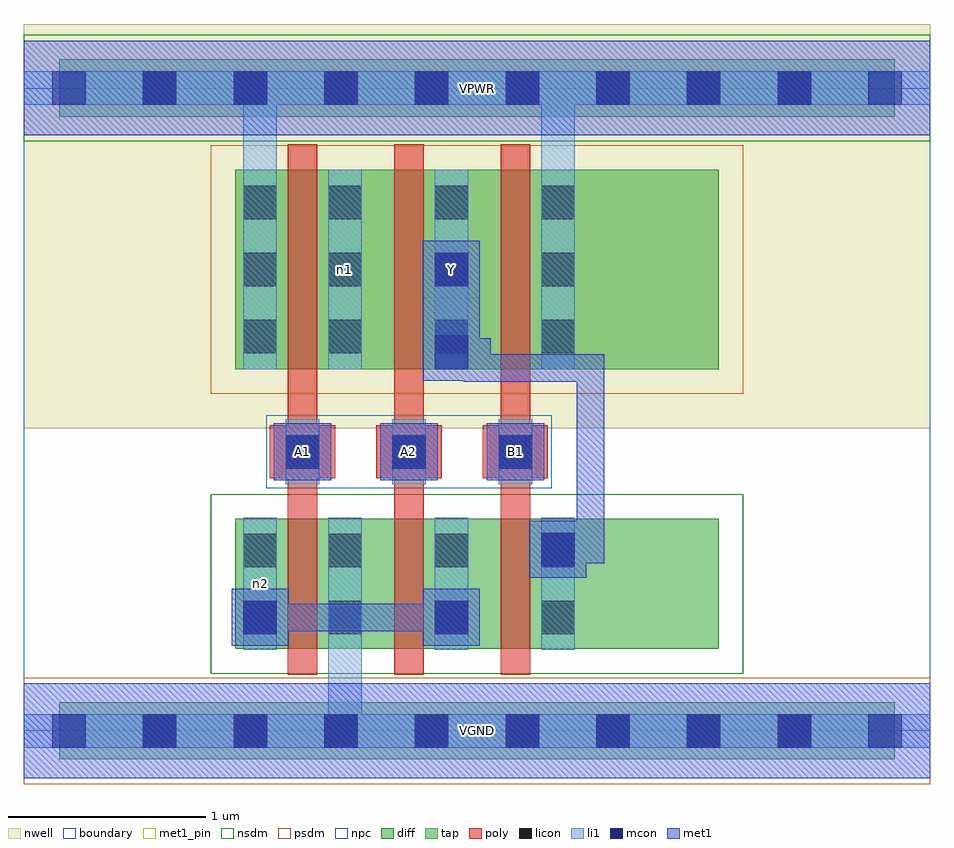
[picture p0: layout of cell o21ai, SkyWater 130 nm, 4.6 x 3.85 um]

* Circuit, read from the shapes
.subckt o21ai A1 A2 B1 VGND VPWR Y n1 n2
XM1 VGND A1 n2 VGND sky130_fd_pr__nfet_01v8 w=0.66 l=0.15
XM2 n2 A2 VGND VGND sky130_fd_pr__nfet_01v8 w=0.66 l=0.15
XM3 Y B1 n2 VGND sky130_fd_pr__nfet_01v8 w=0.66 l=0.15
XM4 n1 A1 VPWR VPWR sky130_fd_pr__pfet_01v8 w=1.01 l=0.15
XM5 Y A2 n1 VPWR sky130_fd_pr__pfet_01v8 w=1.01 l=0.15
XM6 VPWR B1 Y VPWR sky130_fd_pr__pfet_01v8 w=1.01 l=0.15
.ends

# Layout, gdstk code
import gdstk
lib = gdstk.Library(unit=1e-6, precision=1e-09)
def R(c, l, rs):  # rectangles x0, y0, x1, y1
    for r in rs: c.add(gdstk.rectangle(r[:2], r[2:], *l))
def A(c, l, x, y, w, h, nx, ny, dx, dy):  # array of equal rectangles
    R(c, l, [(x+i*dx, y+j*dy, x+i*dx+w, y+j*dy+h) for i in range(nx) for j in range(ny)])
nwell = (64, 20)
diff = (65, 20)
tap = (65, 44)
poly = (66, 20)
licon = (66, 44)
li1 = (67, 20)
mcon = (67, 44)
met1_pin = (68, 16)
met1 = (68, 20)
nsdm = (93, 44)
psdm = (94, 20)
npc = (95, 20)
boundary = (235, 4)

o21ai = lib.new_cell('o21ai')
R(o21ai, nwell, [(0,1.535,4.6,3.585)])
R(o21ai, diff, [(1.075,0.415,3.525,1.075), (1.075,1.835,3.525,2.845)])
R(o21ai, tap, [(0.18,-0.145,4.42,0.145), (0.18,3.115,4.42,3.405)])
A(o21ai, poly, 1.34, 0.285, 0.15, 2.69, 3, 1, 0.54, 0)
A(o21ai, poly, 1.25, 1.28, 0.33, 0.27, 3, 1, 0.54, 0)
A(o21ai, licon, 0.605, -0.085, 0.17, 0.17, 8, 2, 0.46, 3.26)
A(o21ai, licon, 1.545, 0.49, 0.17, 0.17, 3, 2, 0.54, 0.34)
A(o21ai, licon, 1.33, 1.33, 0.17, 0.17, 3, 1, 0.54, 0)
A(o21ai, licon, 1.115, 1.915, 0.17, 0.17, 1, 3, 0, 0.34)
A(o21ai, licon, 1.545, 1.915, 0.17, 0.17, 3, 3, 0.54, 0.34)
R(o21ai, licon, [(1.115,0.49,1.285,0.66), (1.115,0.83,1.285,1)])
A(o21ai, li1, 1.545, 0.41, 0.17, 0.67, 3, 1, 0.54, 0)
A(o21ai, li1, 1.33, 1.25, 0.17, 0.33, 3, 1, 0.54, 0)
A(o21ai, li1, 1.545, 1.835, 0.17, 1.01, 3, 1, 0.54, 0)
R(o21ai, li1, [(0,-0.085,4.6,0.085), (1.545,-0.085,1.715,1.08), (1.115,0.41,1.285,1.08), (1.115,1.835,1.285,2.845), (1.115,1.835,1.285,3.345), (2.625,1.835,2.795,3.345), (0,3.175,4.6,3.345)])
A(o21ai, mcon, 0.145, -0.085, 0.17, 0.17, 10, 2, 0.46, 3.26)
A(o21ai, mcon, 1.33, 1.33, 0.17, 0.17, 3, 1, 0.54, 0)
R(o21ai, mcon, [(1.115,0.49,1.285,0.66), (2.085,0.49,2.255,0.66), (2.625,0.835,2.795,1.005), (2.085,1.835,2.255,2.005), (2.085,2.255,2.255,2.425)])
A(o21ai, met1_pin, 1.27, 1.27, 0.29, 0.29, 3, 1, 0.54, 0)
R(o21ai, met1_pin, [(0,-0.24,4.6,0.24), (2.025,2.195,2.315,2.485), (0,3.02,4.6,3.5)])
A(o21ai, met1, 1.27, 1.27, 0.29, 0.29, 3, 1, 0.54, 0)
R(o21ai, met1, [(0,-0.24,4.6,0.24), (1.055,0.43,1.345,0.72), (2.025,0.43,2.315,0.72), (1.13,0.505,1.45,0.645), (1.31,0.505,2.14,0.645), (2,0.505,2.24,0.645), (2.565,0.775,2.855,1.065), (2.64,0.85,2.945,0.99), (2.805,0.85,2.945,1.91), (2.23,1.77,2.37,1.99), (2.23,1.77,2.945,1.91), (2.025,1.775,2.315,2.065), (2.1,1.85,2.37,1.99), (2.025,2.065,2.315,2.195), (2.025,2.195,2.315,2.485), (0,3.02,4.6,3.5)])
R(o21ai, nsdm, [(0.95,0.29,3.65,1.2), (0,2.99,4.6,3.53)])
R(o21ai, psdm, [(0,-0.27,4.6,0.27), (0.95,1.71,3.65,2.97)])
R(o21ai, npc, [(1.23,1.23,2.68,1.6)])
R(o21ai, boundary, [(0,0,4.6,3.26)])
o21ai.add(gdstk.Label('n2', (1.2,0.745), layer=67, texttype=5))
o21ai.add(gdstk.Label('n1', (1.63,2.34), layer=67, texttype=5))
o21ai.add(gdstk.Label('A1', (1.415,1.415), layer=68, texttype=5))
o21ai.add(gdstk.Label('A2', (1.955,1.415), layer=68, texttype=5))
o21ai.add(gdstk.Label('B1', (2.495,1.415), layer=68, texttype=5))
o21ai.add(gdstk.Label('Y', (2.17,2.34), layer=68, texttype=5))
o21ai.add(gdstk.Label('VPWR', (2.3,3.26), layer=68, texttype=5))
o21ai.add(gdstk.Label('VGND', (2.3,0), layer=68, texttype=5))
o21ai.add(gdstk.Label('A1', (1.415,1.415), layer=68, texttype=16))
o21ai.add(gdstk.Label('A2', (1.955,1.415), layer=68, texttype=16))
o21ai.add(gdstk.Label('B1', (2.495,1.415), layer=68, texttype=16))
o21ai.add(gdstk.Label('Y', (2.17,2.34), layer=68, texttype=16))
o21ai.add(gdstk.Label('VPWR', (2.3,3.26), layer=68, texttype=16))
o21ai.add(gdstk.Label('VGND', (2.3,0), layer=68, texttype=16))

lib.write_gds('o21ai.gds')
